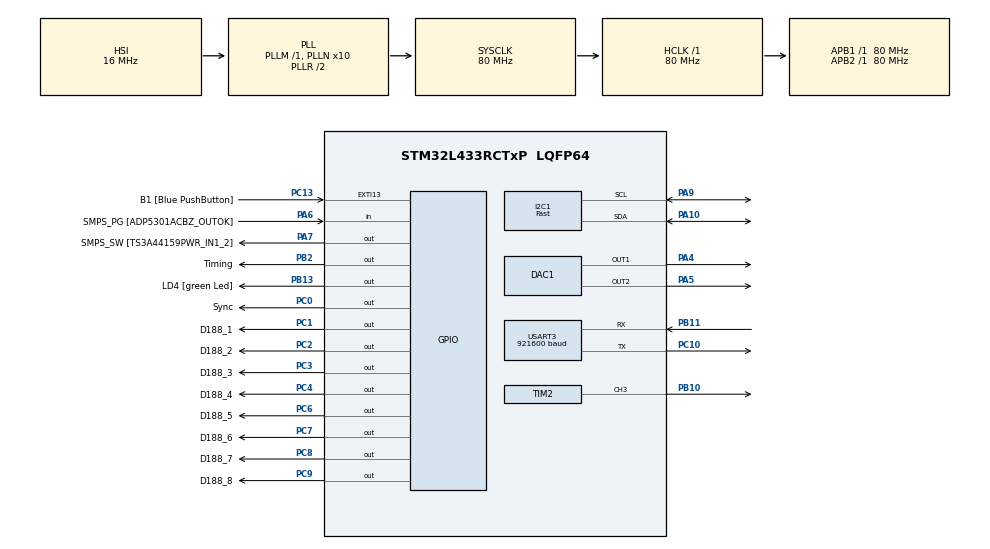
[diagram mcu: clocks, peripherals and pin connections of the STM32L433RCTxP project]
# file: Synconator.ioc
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DAC1.DAC_Channel-DAC_OUT2=DAC_CHANNEL_2
DAC1.DAC_Trigger-DAC_OUT1=DAC_TRIGGER_T2_TRGO
Dma.DAC_CH1.3.Direction=DMA_MEMORY_TO_PERIPH
Dma.DAC_CH1.3.Instance=DMA2_Channel4
Dma.DAC_CH1.3.MemDataAlignment=DMA_MDATAALIGN_HALFWORD
Dma.DAC_CH1.3.MemInc=DMA_MINC_ENABLE
Dma.DAC_CH1.3.Mode=DMA_CIRCULAR
Dma.DAC_CH1.3.PeriphDataAlignment=DMA_PDATAALIGN_HALFWORD
Dma.DAC_CH1.3.PeriphInc=DMA_PINC_DISABLE
Dma.DAC_CH1.3.Priority=DMA_PRIORITY_LOW
Dma.I2C1_TX.0.Direction=DMA_MEMORY_TO_PERIPH
Dma.I2C1_TX.0.Instance=DMA2_Channel7
Dma.I2C1_TX.0.MemDataAlignment=DMA_MDATAALIGN_BYTE
Dma.I2C1_TX.0.MemInc=DMA_MINC_ENABLE
Dma.I2C1_TX.0.Mode=DMA_NORMAL
Dma.I2C1_TX.0.PeriphDataAlignment=DMA_PDATAALIGN_BYTE
Dma.I2C1_TX.0.PeriphInc=DMA_PINC_DISABLE
Dma.I2C1_TX.0.Priority=DMA_PRIORITY_HIGH
Dma.Request0=I2C1_TX
Dma.Request1=TIM2_CH1
Dma.Request2=TIM2_CH3
Dma.Request3=DAC_CH1
Dma.Request4=USART3_RX
Dma.Request5=USART3_TX
Dma.Request6=TIM2_CH2/CH4
Dma.TIM2_CH1.1.Direction=DMA_MEMORY_TO_PERIPH
Dma.TIM2_CH1.1.Instance=DMA1_Channel5
Dma.TIM2_CH1.1.MemDataAlignment=DMA_MDATAALIGN_WORD
Dma.TIM2_CH1.1.MemInc=DMA_MINC_ENABLE
Dma.TIM2_CH1.1.Mode=DMA_CIRCULAR
Dma.TIM2_CH1.1.PeriphDataAlignment=DMA_PDATAALIGN_WORD
Dma.TIM2_CH1.1.PeriphInc=DMA_PINC_DISABLE
Dma.TIM2_CH1.1.Priority=DMA_PRIORITY_LOW
Dma.TIM2_CH2/CH4.6.Direction=DMA_MEMORY_TO_PERIPH
Dma.TIM2_CH2/CH4.6.Instance=DMA1_Channel7
Dma.TIM2_CH2/CH4.6.MemDataAlignment=DMA_MDATAALIGN_WORD
Dma.TIM2_CH2/CH4.6.MemInc=DMA_MINC_ENABLE
Dma.TIM2_CH2/CH4.6.Mode=DMA_CIRCULAR
Dma.TIM2_CH2/CH4.6.PeriphDataAlignment=DMA_PDATAALIGN_WORD
Dma.TIM2_CH2/CH4.6.PeriphInc=DMA_PINC_DISABLE
Dma.TIM2_CH2/CH4.6.Priority=DMA_PRIORITY_LOW
Dma.TIM2_CH3.2.Direction=DMA_MEMORY_TO_PERIPH
Dma.TIM2_CH3.2.Instance=DMA1_Channel1
Dma.TIM2_CH3.2.MemDataAlignment=DMA_MDATAALIGN_WORD
Dma.TIM2_CH3.2.MemInc=DMA_MINC_ENABLE
Dma.TIM2_CH3.2.Mode=DMA_CIRCULAR
Dma.TIM2_CH3.2.PeriphDataAlignment=DMA_PDATAALIGN_WORD
Dma.TIM2_CH3.2.PeriphInc=DMA_PINC_DISABLE
Dma.TIM2_CH3.2.Priority=DMA_PRIORITY_LOW
Dma.USART3_RX.4.Direction=DMA_PERIPH_TO_MEMORY
Dma.USART3_RX.4.Instance=DMA1_Channel3
Dma.USART3_RX.4.MemDataAlignment=DMA_MDATAALIGN_BYTE
Dma.USART3_RX.4.MemInc=DMA_MINC_ENABLE
Dma.USART3_RX.4.Mode=DMA_CIRCULAR
Dma.USART3_RX.4.PeriphDataAlignment=DMA_PDATAALIGN_BYTE
Dma.USART3_RX.4.PeriphInc=DMA_PINC_DISABLE
Dma.USART3_RX.4.Priority=DMA_PRIORITY_LOW
Dma.USART3_TX.5.Direction=DMA_MEMORY_TO_PERIPH
Dma.USART3_TX.5.Instance=DMA1_Channel2
Dma.USART3_TX.5.MemDataAlignment=DMA_MDATAALIGN_BYTE
Dma.USART3_TX.5.MemInc=DMA_MINC_ENABLE
Dma.USART3_TX.5.Mode=DMA_NORMAL
Dma.USART3_TX.5.PeriphDataAlignment=DMA_PDATAALIGN_BYTE
Dma.USART3_TX.5.PeriphInc=DMA_PINC_DISABLE
Dma.USART3_TX.5.Priority=DMA_PRIORITY_LOW
I2C1.I2C_Speed_Mode=I2C_Fast
I2C1.Timing=0x00F12981
Mcu.Family=STM32L4
Mcu.Name=STM32L433RCTxP
Mcu.Package=LQFP64
NVIC.DMA1_Channel1_IRQn=true\:0\:0\:false\:false\:true\:false\:true\:true
NVIC.DMA1_Channel2_IRQn=true\:0\:0\:false\:false\:true\:false\:true\:true
NVIC.DMA1_Channel3_IRQn=true\:0\:0\:false\:false\:true\:false\:true\:true
NVIC.DMA1_Channel5_IRQn=true\:0\:0\:false\:false\:true\:false\:true\:true
NVIC.DMA1_Channel7_IRQn=true\:0\:0\:false\:false\:true\:false\:true\:true
NVIC.DMA2_Channel4_IRQn=true\:0\:0\:false\:false\:true\:false\:true\:true
NVIC.DMA2_Channel7_IRQn=true\:0\:0\:false\:false\:true\:false\:true\:true
NVIC.I2C1_ER_IRQn=true\:0\:0\:false\:false\:true\:true\:true\:true
NVIC.I2C1_EV_IRQn=true\:0\:0\:false\:false\:true\:true\:true\:true
NVIC.PriorityGroup=NVIC_PRIORITYGROUP_4
NVIC.TIM1_BRK_TIM15_IRQn=true\:0\:0\:false\:false\:true\:true\:true\:true
NVIC.TIM2_IRQn=true\:0\:0\:false\:false\:true\:true\:true\:true
NVIC.TIM6_DAC_IRQn=true\:2\:0\:true\:false\:true\:true\:true\:true
NVIC.TIM7_IRQn=true\:0\:0\:true\:false\:true\:true\:true\:true
NVIC.USART3_IRQn=true\:0\:0\:false\:false\:true\:true\:true\:true
PA10.Mode=I2C
PA10.Signal=I2C1_SDA
PA13\ (JTMS-SWDIO).GPIO_Label=TMS
PA13\ (JTMS-SWDIO).Mode=Serial_Wire
PA13\ (JTMS-SWDIO).Signal=SYS_JTMS-SWDIO
PA14\ (JTCK-SWCLK).GPIO_Label=TCK
PA14\ (JTCK-SWCLK).Mode=Serial_Wire
PA14\ (JTCK-SWCLK).Signal=SYS_JTCK-SWCLK
PA4.Signal=COMP_DAC11_group
PA5.Signal=COMP_DAC12_group
PA6.GPIO_Label=SMPS_PG [ADP5301ACBZ_OUTOK]
PA6.GPIO_PuPd=GPIO_PULLUP
PA6.Signal=GPIO_Input
PA7.GPIO_Label=SMPS_SW [TS3A44159PWR_IN1_2]
PA7.Signal=GPIO_Output
PA9.Mode=I2C
PA9.Signal=I2C1_SCL
PB10.Signal=S_TIM2_CH3
PB11.Mode=Asynchronous
PB11.Signal=USART3_RX
PB13.GPIO_Label=LD4 [green Led]
PB13.Signal=GPIO_Output
PB2.GPIO_Label=Timing
PB2.GPIO_PuPd=GPIO_PULLDOWN
PB2.GPIO_Speed=GPIO_SPEED_FREQ_VERY_HIGH
PB2.Signal=GPIO_Output
PB3\ (JTDO-TRACESWO).GPIO_Label=SWO
PB3\ (JTDO-TRACESWO).Signal=SYS_JTDO-SWO
PC0.GPIO_Label=Sync
PC0.GPIO_PuPd=GPIO_PULLDOWN
PC0.GPIO_Speed=GPIO_SPEED_FREQ_LOW
PC0.Signal=GPIO_Output
PC1.GPIO_Label=D188_1
PC1.GPIO_PuPd=GPIO_PULLDOWN
PC1.Signal=GPIO_Output
PC10.Mode=Asynchronous
PC10.Signal=USART3_TX
PC13.GPIO_Label=B1 [Blue PushButton]
PC13.GPIO_ModeDefaultEXTI=GPIO_MODE_IT_FALLING
PC13.GPIO_PuPd=GPIO_NOPULL
PC13.Signal=GPXTI13
PC14-OSC32_IN\ (PC14).Mode=LSE-External-Oscillator
PC14-OSC32_IN\ (PC14).Signal=RCC_OSC32_IN
PC15-OSC32_OUT\ (PC15).Mode=LSE-External-Oscillator
PC15-OSC32_OUT\ (PC15).Signal=RCC_OSC32_OUT
PC2.GPIO_Label=D188_2
PC2.GPIO_PuPd=GPIO_PULLDOWN
PC2.GPIO_Speed=GPIO_SPEED_FREQ_LOW
PC2.Signal=GPIO_Output
PC3.GPIO_Label=D188_3
PC3.GPIO_PuPd=GPIO_PULLDOWN
PC3.GPIO_Speed=GPIO_SPEED_FREQ_LOW
PC3.Signal=GPIO_Output
PC4.GPIO_Label=D188_4
PC4.GPIO_PuPd=GPIO_PULLDOWN
PC4.GPIO_Speed=GPIO_SPEED_FREQ_LOW
PC4.Signal=GPIO_Output
PC6.GPIO_Label=D188_5
PC6.GPIO_PuPd=GPIO_PULLDOWN
PC6.GPIO_Speed=GPIO_SPEED_FREQ_LOW
PC6.Signal=GPIO_Output
PC7.GPIO_Label=D188_6
PC7.GPIO_PuPd=GPIO_PULLDOWN
PC7.GPIO_Speed=GPIO_SPEED_FREQ_LOW
PC7.Signal=GPIO_Output
PC8.GPIO_Label=D188_7
PC8.GPIO_PuPd=GPIO_PULLDOWN
PC8.GPIO_Speed=GPIO_SPEED_FREQ_LOW
PC8.Signal=GPIO_Output
PC9.GPIO_Label=D188_8
PC9.GPIO_PuPd=GPIO_PULLDOWN
PC9.GPIO_Speed=GPIO_SPEED_FREQ_LOW
PC9.Signal=GPIO_Output
PH0-OSC_IN\ (PH0).GPIO_Label=MCO
PH0-OSC_IN\ (PH0).Mode=HSE-External-Clock-Source
PH0-OSC_IN\ (PH0).Signal=RCC_OSC_IN
PH1-OSC_OUT\ (PH1).Signal=RCC_OSC_OUT
ProjectManager.HeapSize=0x200
ProjectManager.StackSize=0x400
ProjectManager.TargetToolchain=STM32CubeIDE
RCC.ADCFreq_Value=64000000
RCC.AHBFreq_Value=80000000
RCC.APB1Freq_Value=80000000
RCC.APB1TimFreq_Value=80000000
RCC.APB2Freq_Value=80000000
RCC.APB2TimFreq_Value=80000000
RCC.CortexFreq_Value=80000000
RCC.HCLKFreq_Value=80000000
RCC.HSE_VALUE=8000000
RCC.HSI48_VALUE=48000000
RCC.HSI_VALUE=16000000
RCC.MSI_VALUE=4000000
RCC.PLLN=10
RCC.PLLSourceVirtual=RCC_PLLSOURCE_HSI
RCC.PREFETCH_ENABLE=1
RCC.SYSCLKFreq_VALUE=80000000
RCC.SYSCLKSource=RCC_SYSCLKSOURCE_PLLCLK
RCC.USBFreq_Value=64000000
RCC.VCOOutputFreq_Value=160000000
SH.COMP_DAC11_group.0=DAC1_OUT1,DAC_OUT1
SH.COMP_DAC12_group.0=DAC1_OUT2,DAC_OUT2
SH.S_TIM2_CH3.0=TIM2_CH3,Output Compare3 CH3
TIM15.Period=0
TIM15.Prescaler=79
TIM2.Channel-Output\ Compare1\ No\ Output=TIM_CHANNEL_1
TIM2.Channel-Output\ Compare2\ No\ Output=TIM_CHANNEL_2
TIM2.Channel-Output\ Compare3\ CH3=TIM_CHANNEL_3
TIM2.OCMode_3=TIM_OCMODE_TOGGLE
TIM2.Period=4294967295
TIM2.Prescaler=79
TIM2.Pulse-Output\ Compare3\ CH3=1000
TIM2.TIM_MasterOutputTrigger=TIM_TRGO_OC1
TIM6.Period=99
TIM6.Prescaler=799
TIM7.Period=9
TIM7.Prescaler=79
USART3.BaudRate=921600
USART3.VirtualMode-Asynchronous=VM_ASYNC
VP_TIM15_VS_ClockSourceINT.Mode=Internal
VP_TIM2_VS_ClockSourceINT.Mode=Internal
VP_TIM2_VS_no_output1.Mode=Output Compare1 No Output
VP_TIM2_VS_no_output2.Mode=Output Compare2 No Output
VP_TIM6_VS_ClockSourceINT.Mode=Enable_Timer
VP_TIM7_VS_ClockSourceINT.Mode=Enable_Timer
board=NUCLEO-L433RC-P

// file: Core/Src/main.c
/* USER CODE BEGIN Header */
/**
  ******************************************************************************
  * @file           : main.c
  * @brief          : Main program body
  ******************************************************************************
  * @attention
  *
  * Copyright (c) 2026 STMicroelectronics.
  * All rights reserved.
  *
  * This software is licensed under terms that can be found in the LICENSE file
  * in the root directory of this software component.
  * If no LICENSE file comes with this software, it is provided AS-IS.
  *
  ******************************************************************************
  */
/* USER CODE END Header */
#include "main.h"
#include "dac.h"
#include "dma.h"
#include "i2c.h"
#include "tim.h"
#include "usart.h"
#include "gpio.h"

/* USER CODE BEGIN Includes */
#include "structs.h"
#include "test_signals.h"
#include "crc.h"
#include "gp8403.h"
#include <stdint.h>

/* USER CODE END Includes */

/* USER CODE BEGIN PD */
#define RX_ACCUMULATOR_SIZE (2U * RX_DMA_SIZE)

// Buffer to hold rx data
char buffer[50] = {0};
uint8_t msg_rdy = 0;
int done = 0;
int idx = 0;

/* USER CODE END PD */

/* USER CODE BEGIN PV */
stimCommandQueue stim_queue;
rdg_buf_struct* dma_reader;
GP8403 dac;

/* USER CODE END PV */

void SystemClock_Config(void);

int main(void)
{

  /* MCU Configuration--------------------------------------------------------*/

  /* Reset of all peripherals, Initializes the Flash interface and the Systick. */
  HAL_Init();

  /* USER CODE BEGIN Init */
  dma_reader = rdg_buf_init(RX_ACCUMULATOR_SIZE);

  /* USER CODE END Init */

  /* Configure the system clock */
  SystemClock_Config();

  /* Initialize all configured peripherals */
  MX_GPIO_Init();
  MX_DMA_Init();
  MX_TIM6_Init();
  MX_TIM7_Init();
  MX_TIM2_Init();
  MX_TIM15_Init();
  MX_I2C1_Init();
  MX_DAC1_Init();
  MX_USART3_UART_Init();
  /* USER CODE BEGIN 2 */
  // starting timers

     HAL_TIM_Base_Start_IT(&htim6); // Communications loop (1000hz)
     HAL_TIM_Base_Start_IT(&htim7); // DMA Servicing loop (100khz)

     // Enable circular receive-to-idle. Failed starts are retried by run_com_loop().
     (void)huart3_rx_start();

     // Init our command structures
     stim_command_init(&stim_queue);

     // Init the DAC
//     HAL_DAC_Start(&hdac1, DAC_CHANNEL_1);

  /* USER CODE END 2 */

  /* Infinite loop */
  /* USER CODE BEGIN WHILE */
  while (1)
  {
	  if (com_loop_flag == 1)
	  {
		  run_com_loop();
	  }
//	  HAL_GPIO_TogglePin(Timing_GPIO_Port, Timing_Pin);
//	  servicePulseDma(&stim_queue);
//	  HAL_GPIO_TogglePin(Timing_GPIO_Port, Timing_Pin);
    /* USER CODE END WHILE */

  }
}

void SystemClock_Config(void)
{
  RCC_OscInitTypeDef RCC_OscInitStruct = {0};
  RCC_ClkInitTypeDef RCC_ClkInitStruct = {0};

  /** Configure the main internal regulator output voltage
  */
  if (HAL_PWREx_ControlVoltageScaling(PWR_REGULATOR_VOLTAGE_SCALE1) != HAL_OK)
  {
    Error_Handler();
  }

  /** Initializes the RCC Oscillators according to the specified parameters
  * in the RCC_OscInitTypeDef structure.
  */
  RCC_OscInitStruct.OscillatorType = RCC_OSCILLATORTYPE_HSI;
  RCC_OscInitStruct.HSIState = RCC_HSI_ON;
  RCC_OscInitStruct.HSICalibrationValue = RCC_HSICALIBRATION_DEFAULT;
  RCC_OscInitStruct.PLL.PLLState = RCC_PLL_ON;
  RCC_OscInitStruct.PLL.PLLSource = RCC_PLLSOURCE_HSI;
  RCC_OscInitStruct.PLL.PLLM = 1;
  RCC_OscInitStruct.PLL.PLLN = 10;
  RCC_OscInitStruct.PLL.PLLP = RCC_PLLP_DIV7;
  RCC_OscInitStruct.PLL.PLLQ = RCC_PLLQ_DIV2;
  RCC_OscInitStruct.PLL.PLLR = RCC_PLLR_DIV2;
  if (HAL_RCC_OscConfig(&RCC_OscInitStruct) != HAL_OK)
  {
    Error_Handler();
  }

  /** Initializes the CPU, AHB and APB buses clocks
  */
  RCC_ClkInitStruct.ClockType = RCC_CLOCKTYPE_HCLK|RCC_CLOCKTYPE_SYSCLK
                              |RCC_CLOCKTYPE_PCLK1|RCC_CLOCKTYPE_PCLK2;
  RCC_ClkInitStruct.SYSCLKSource = RCC_SYSCLKSOURCE_PLLCLK;
  RCC_ClkInitStruct.AHBCLKDivider = RCC_SYSCLK_DIV1;
  RCC_ClkInitStruct.APB1CLKDivider = RCC_HCLK_DIV1;
  RCC_ClkInitStruct.APB2CLKDivider = RCC_HCLK_DIV1;

  if (HAL_RCC_ClockConfig(&RCC_ClkInitStruct, FLASH_LATENCY_4) != HAL_OK)
  {
    Error_Handler();
  }
}

/* USER CODE BEGIN 4 */

void run_com_loop(void)
{
	/* A reconnect-time UART error aborts only RX DMA. Recover it here and
	 * discard parser state associated with the old DMA run.
	 */
	if (huart3_rx_recover())
	{
		rdg_buf_reset(dma_reader);
	}

	// Increment our connection watchdog timer
	incrementWatchdogCounter(&stim_queue);
//	Send our current state
	uint8_t amp_ctrl_mode = (uint8_t)stim_queue.amplitude_override_active;
	memcpy(status, &amp_ctrl_mode, sizeof(amp_ctrl_mode));
	increment_frame_counter();
	memcpy(frame, &frame_counter, (size_t)sizeof(frame_counter));
	// Count remaining commands
	float queued_cmds = (float)(stim_queue.count);
	memcpy(queue_len, &queued_cmds, sizeof(queued_cmds));
	// Get the last stim period
	float last_period = (float)stim_queue.last_period;
	memcpy(queue_time, &last_period, sizeof(last_period));
	// Get watchdog timer count
	uint16_t watchdog_count = (uint16_t)stim_queue.watchdog_counter;
	memcpy(watchdog_counter, &watchdog_count, sizeof(watchdog_count));

	compile_data_sources(6,
			  status, queue_len, queue_time, debug, frame, watchdog_counter);
	crc_uart_send_data(compiled_payload, &huart3);

//	Check our inbox for any commands
	uint16_t dma_write_position;
	if (huart3_rx_take_write_position(&dma_write_position))
	{
		dma_to_rdg_buf(dma_reader, rx_dma_buffer, RX_DMA_SIZE, dma_write_position);
		crc_uart_rcv_data(dma_reader, dma_reader->tail);
	}
	com_loop_flag = 0;
}

/* USER CODE END 4 */

void Error_Handler(void)
{
  __disable_irq();
  while (1)
  {
  }
}
